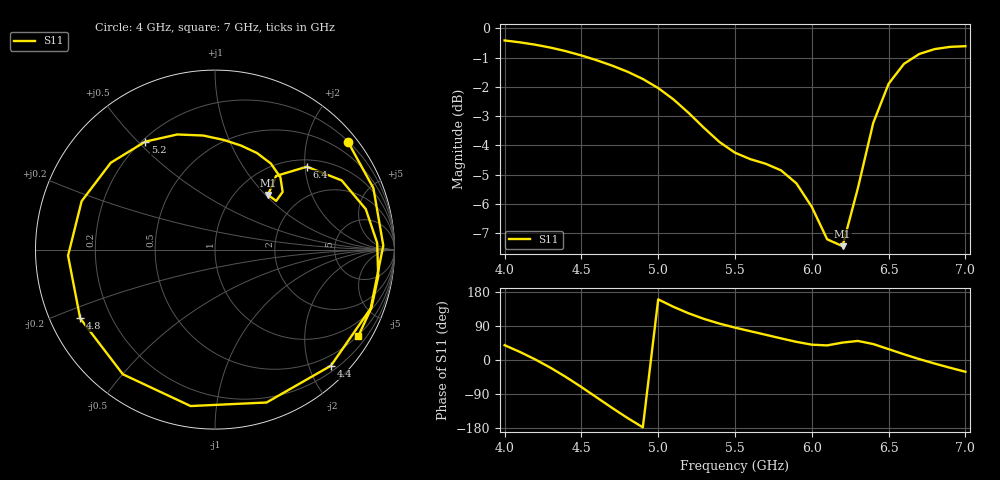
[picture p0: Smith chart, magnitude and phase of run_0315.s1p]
! Touchstone file exported from HFSS 2024.2.0
!  File:  C:/Users/wsak9/Desktop/Sim Fast/Widenad Patch/WP_AI_V1_sweep.aedt
!  Generated:  04:20:21 AM Oct 14, 2026
!  Design:  A1_model
!  Project:  WP_AI_V1_sweep
!  Setup:  Setup1
!  Solution:  Sweep
! Variables:
!  Air_gap = 3.07mm
!  Curve_Amp1 = 1.04
!  Curve_len1 = 1
!  Curve_pos = 10.33mm
!  Extra = 4.02mm
!  H_sub = 0.79mm
!  L_Patch = 16.66mm
!  L_Patch1 = 15.05mm
!  Sx = 4.59mm
!  Sy = 1.74mm
!  WS = 0.39mm
!  W_Patch = 15.39mm
!  W_Patch1 = 11.03mm
!Data is not renormalized
# GHz S MA
! Terminal data exported
! Port[1] = 1
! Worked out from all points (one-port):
!   31 points, 4 GHz to 7 GHz, reference per port
!   lowest |S11| = -7.4 dB at 6.2 GHz (marker M1), VSWR 2.47
!   |S11| at or under -10 dB: nowhere
!   S11 on the Smith chart (normalised r, x): 4 GHz: 0.21, +2.80; 4.4 GHz: 0.30, -2.38; 4.8 GHz: 0.09, -0.24; 5.2 GHz: 0.21, +0.53; 6.4 GHz: 1.16, +2.04; 7 GHz: 0.48, -3.54
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4  0.9537 39.1
4.1  0.9466 21.2
4.2  0.9379 1.4
4.3  0.9271 -20.7
4.4  0.9141 -45.0
4.5  0.899 -71.4
4.6  0.8821 -98.9
4.7  0.8637 -126.4
4.8  0.8433 -153.0
4.9  0.8194 -177.6
5  0.7906 160.0
5.1  0.7559 140.2
5.2  0.7162 122.9
5.3  0.6752 108.2
5.5  0.6129 85.5
5.7  0.5868 66.6
5.9  0.5432 47.8
6  0.4951 40.4
6.1  0.4358 38.5
6.2  0.4242 45.9
6.3  0.533 50.3
6.4  0.6891 42.1
6.5  0.8041 28.7
6.6  0.8698 15.0
6.7  0.9043 2.4
6.8  0.9218 -9.4
6.9  0.9299 -20.5
7  0.9324 -31.0
